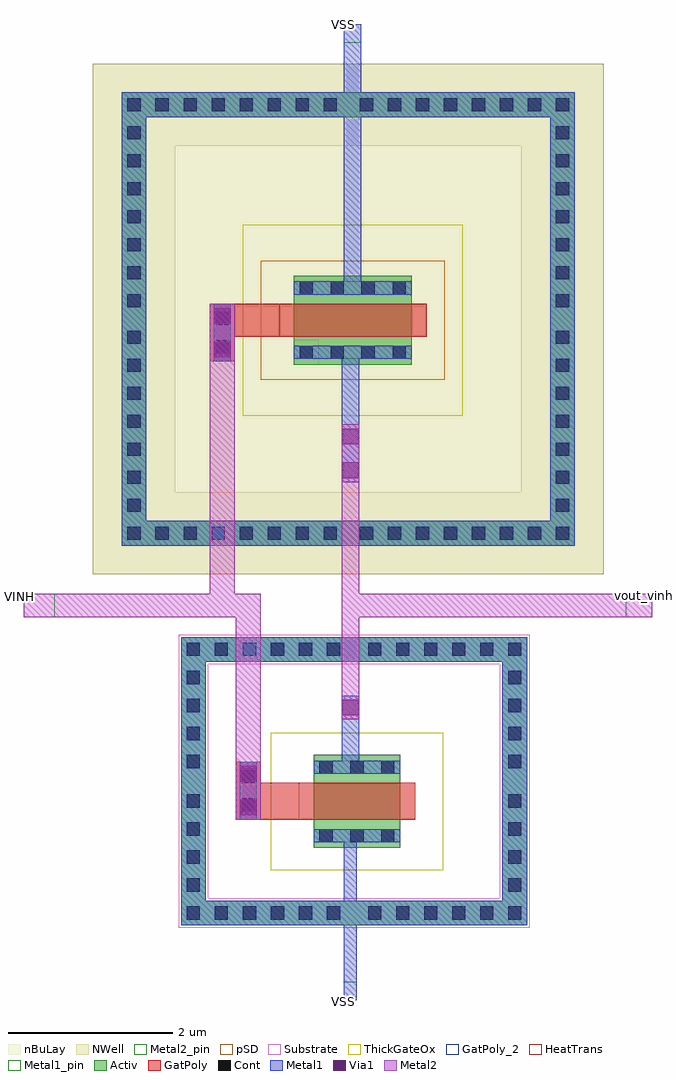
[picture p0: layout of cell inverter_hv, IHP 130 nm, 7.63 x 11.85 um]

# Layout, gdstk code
from math import pi, radians
import gdstk
lib = gdstk.Library(unit=1e-6, precision=5e-09)
def R(c, l, rs):  # rectangles x0, y0, x1, y1
    for r in rs: c.add(gdstk.rectangle(r[:2], r[2:], *l))
def A(c, l, x, y, w, h, nx, ny, dx, dy):  # array of equal rectangles
    R(c, l, [(x+i*dx, y+j*dy, x+i*dx+w, y+j*dy+h) for i in range(nx) for j in range(ny)])
def P(c, l, *ps):  # polygons
    for p in ps: c.add(gdstk.Polygon(p, *l))
Activ = (1, 0)
GatPoly = (5, 0)
GatPoly_2 = (5, 2)
Cont = (6, 0)
Metal1 = (8, 0)
Metal1_pin = (8, 2)
Metal2 = (10, 0)
Metal2_pin = (10, 2)
pSD = (14, 0)
Via1 = (19, 0)
NWell = (31, 0)
nBuLay = (32, 0)
Substrate = (40, 0)
ThickGateOx = (44, 0)
HeatTrans = (51, 0)

pmoshv = lib.new_cell('pmosHV')
R(pmoshv, Activ, [(0,0,0.3,0.3), (0,0,1.08,1.43), (0.78,0,1.08,0.3)])
R(pmoshv, GatPoly, [(0.34,-0.18,0.74,1.61)])
R(pmoshv, GatPoly_2, [(0.34,-0.18,0.74,1.61)])
A(pmoshv, Cont, 0.07, 0.07, 0.16, 0.16, 1, 3, 0, 0.375)
A(pmoshv, Cont, 0.85, 0.07, 0.16, 0.16, 1, 3, 0, 0.375)
R(pmoshv, Cont, [(0.07,1.2,0.23,1.36), (0.85,1.2,1.01,1.36)])
R(pmoshv, Metal1, [(0.07,0,0.23,1.43), (0.85,0,1.01,1.43)])
R(pmoshv, Metal1_pin, [(0.07,0,0.23,1.43), (0.85,0,1.01,1.43)])
R(pmoshv, pSD, [(-0.18,-0.4,1.26,1.83)])
R(pmoshv, NWell, [(-0.62,-0.62,1.7,2.05)])
R(pmoshv, Substrate, [(0.78,0,1.08,0.3)])
R(pmoshv, ThickGateOx, [(-0.62,-0.62,1.7,2.05)])
R(pmoshv, HeatTrans, [(0.34,-0.18,0.74,1.61)])
pmoshv.add(gdstk.Label('pmosHV', (0.54,0.715), layer=63, texttype=0))
pmoshv.add(gdstk.Label('pmos', (0.54,0.715), layer=51, texttype=0))

nmoshv = lib.new_cell('nmosHV')
R(nmoshv, Activ, [(0,0,0.3,0.3), (0,0,1.13,1.05), (0.83,0,1.13,0.3)])
R(nmoshv, GatPoly, [(0.34,-0.18,0.79,1.23)])
R(nmoshv, GatPoly_2, [(0.34,-0.18,0.79,1.23)])
A(nmoshv, Cont, 0.07, 0.07, 0.16, 0.16, 1, 3, 0, 0.375)
A(nmoshv, Cont, 0.9, 0.07, 0.16, 0.16, 1, 3, 0, 0.375)
R(nmoshv, Metal1, [(0.07,0,0.23,1.05), (0.9,0,1.06,1.05)])
R(nmoshv, Metal1_pin, [(0.07,0,0.23,1.05), (0.9,0,1.06,1.05)])
R(nmoshv, ThickGateOx, [(-0.27,-0.52,1.4,1.57)])
R(nmoshv, HeatTrans, [(0.34,-0.18,0.79,1.23)])
nmoshv.add(gdstk.Label('nmosHV', (0.565,0.525), layer=63, texttype=0))
nmoshv.add(gdstk.Label('nmosHV', (0.565,0.525), layer=51, texttype=0))

guard_ring_3 = lib.new_cell('guard_ring$3')
R(guard_ring_3, Activ, [(-2.75,-2.45,-2.45,2.45), (2.45,-2.45,2.75,2.45), (-2.75,2.45,2.75,2.75)])
P(guard_ring_3, Activ, [(-2.75,-2.75),(-2.75,2.45),(-2.45,2.45),(-2.45,-2.45),(2.45,-2.45),(2.45,2.45),(-2.75,2.45),(-2.75,2.75),(2.75,2.75),(2.75,-2.75)])
A(guard_ring_3, Cont, -2.68, -2.68, 0.16, 0.16, 8, 2, 0.34, 5.2)
A(guard_ring_3, Cont, 0.14, -2.68, 0.16, 0.16, 8, 2, 0.34, 5.2)
A(guard_ring_3, Cont, -2.68, -2.34, 0.16, 0.16, 1, 7, 0, 0.34)
A(guard_ring_3, Cont, 2.52, -2.34, 0.16, 0.16, 1, 7, 0, 0.34)
A(guard_ring_3, Cont, -2.68, 0.14, 0.16, 0.16, 1, 7, 0, 0.34)
A(guard_ring_3, Cont, 2.52, 0.14, 0.16, 0.16, 1, 7, 0, 0.34)
R(guard_ring_3, Metal1, [(-2.75,-2.75,2.75,-2.45), (-2.75,-2.45,-2.45,2.45), (2.45,-2.45,2.75,2.45), (-2.75,2.45,2.75,2.75)])
R(guard_ring_3, NWell, [(-3.1,-3.1,3.1,3.1)])
R(guard_ring_3, nBuLay, [(-3.1,-2.1,-2.1,2.1), (2.1,-2.1,3.1,2.1), (-3.1,2.1,3.1,3.1)])
P(guard_ring_3, nBuLay, [(-3.1,-3.1),(-3.1,2.1),(-2.1,2.1),(-2.1,-2.1),(2.1,-2.1),(2.1,2.1),(-3.1,2.1),(-3.1,3.1),(3.1,3.1),(3.1,-3.1)])
guard_ring_3.add(gdstk.Label('well', (0,-2.6), layer=63, texttype=0))

guard_ring_1 = lib.new_cell('guard_ring$1')
R(guard_ring_1, Activ, [(-2.1,-1.45,-1.8,1.45), (1.8,-1.45,2.1,1.45), (-2.1,1.45,2.1,1.75)])
P(guard_ring_1, Activ, [(-2.1,-1.75),(-2.1,1.45),(-1.8,1.45),(-1.8,-1.45),(1.8,-1.45),(1.8,1.45),(-2.1,1.45),(-2.1,1.75),(2.1,1.75),(2.1,-1.75)])
A(guard_ring_1, Cont, -2.03, -1.68, 0.16, 0.16, 6, 2, 0.34, 3.2)
A(guard_ring_1, Cont, 0.17, -1.68, 0.16, 0.16, 6, 2, 0.34, 3.2)
A(guard_ring_1, Cont, -2.03, -1.34, 0.16, 0.16, 1, 4, 0, 0.34)
A(guard_ring_1, Cont, 1.87, -1.34, 0.16, 0.16, 1, 4, 0, 0.34)
A(guard_ring_1, Cont, -2.03, 0.16, 0.16, 0.16, 1, 4, 0, 0.34)
A(guard_ring_1, Cont, 1.87, 0.16, 0.16, 0.16, 1, 4, 0, 0.34)
R(guard_ring_1, Metal1, [(-2.1,-1.75,2.1,-1.45), (-2.1,-1.45,-1.8,1.45), (1.8,-1.45,2.1,1.45), (-2.1,1.45,2.1,1.75)])
R(guard_ring_1, pSD, [(-2.13,-1.42,-1.77,1.42), (1.77,-1.42,2.13,1.42), (-2.13,1.42,2.13,1.78)])
P(guard_ring_1, pSD, [(-2.13,-1.78),(-2.13,1.42),(-1.77,1.42),(-1.77,-1.42),(1.77,-1.42),(1.77,1.42),(-2.13,1.42),(-2.13,1.78),(2.13,1.78),(2.13,-1.78)])
R(guard_ring_1, Substrate, [(-2.13,-1.42,-1.77,1.42), (1.77,-1.42,2.13,1.42), (-2.13,1.42,2.13,1.78)])
P(guard_ring_1, Substrate, [(-2.13,-1.78),(-2.13,1.42),(-1.77,1.42),(-1.77,-1.42),(1.77,-1.42),(1.77,1.42),(-2.13,1.42),(-2.13,1.78),(2.13,1.78),(2.13,-1.78)])
guard_ring_1.add(gdstk.Label('sub!', (0,-1.6), layer=63, texttype=0))

via_stack_2 = lib.new_cell('via_stack$2')
R(via_stack_2, Metal1, [(-0.105,-0.35,0.105,0.35)])
R(via_stack_2, Metal2, [(-0.1,-0.35,0.1,0.35)])
R(via_stack_2, Via1, [(-0.095,-0.3,0.095,-0.11), (-0.095,0.11,0.095,0.3)])

via_stack_1 = lib.new_cell('via_stack$1')
R(via_stack_1, GatPoly, [(-0.15,-0.32,0.15,0.32)])
R(via_stack_1, Cont, [(-0.08,-0.25,0.08,-0.09), (-0.08,0.09,0.08,0.25)])
R(via_stack_1, Metal1, [(-0.105,-0.35,0.105,0.35)])
R(via_stack_1, Metal2, [(-0.1,-0.35,0.1,0.35)])
R(via_stack_1, Via1, [(-0.095,-0.3,0.095,-0.11), (-0.095,0.11,0.095,0.3)])

via_stack = lib.new_cell('via_stack')
R(via_stack, Metal1, [(-0.145,-0.105,0.145,0.105)])
R(via_stack, Metal2, [(-0.145,-0.1,0.145,0.1)])
R(via_stack, Via1, [(-0.095,-0.095,0.095,0.095)])

inverter_hv = lib.new_cell('inverter_hv')
R(inverter_hv, GatPoly, [(6.595,5.79,7.36,6.24), (6.595,5.79,6.895,6.495), (6.28,11.355,6.58,12.055), (6.28,11.655,7.12,12.055)])
R(inverter_hv, Metal1, [(7.905,3.605,8.065,5.68), (7.88,6.35,8.09,7.3), (7.88,9.89,8.09,11.545), (7.905,12.165,8.12,15.45)])
R(inverter_hv, Metal1_pin, [(7.905,3.605,8.065,3.825), (7.905,15.22,8.12,15.45)])
R(inverter_hv, Metal2, [(6.595,5.79,6.895,8.535), (7.88,7.01,8.09,10.59), (4.02,8.25,6.895,8.535), (6.28,8.25,6.58,12.055), (7.88,8.25,11.65,8.535)])
R(inverter_hv, Metal2_pin, [(4.02,8.25,4.395,8.535), (11.33,8.25,11.65,8.535)])
inverter_hv.add(gdstk.Reference(pmoshv, (7.3,12.395), rotation=3*pi/2))
inverter_hv.add(gdstk.Reference(nmoshv, (7.54,6.58), rotation=3*pi/2))
inverter_hv.add(gdstk.Reference(guard_ring_3, (7.96,11.87)))
inverter_hv.add(gdstk.Reference(guard_ring_1, (8.03,6.26)))
inverter_hv.add(gdstk.Reference(via_stack_2, (7.985,10.24)))
inverter_hv.add(gdstk.Reference(via_stack_1, (6.43,11.705)))
inverter_hv.add(gdstk.Reference(via_stack_1, (6.745,6.145)))
inverter_hv.add(gdstk.Reference(via_stack, (7.985,7.155), rotation=3*pi/2))
inverter_hv.add(gdstk.Label('VSS', (7.905,15.45), layer=8, texttype=0))
inverter_hv.add(gdstk.Label('VSS', (7.905,3.59), layer=8, texttype=0))
inverter_hv.add(gdstk.Label('vout_vinh', (11.65,8.52), layer=10, texttype=0))
inverter_hv.add(gdstk.Label('VINH', (3.97,8.505), layer=10, texttype=0))

lib.write_gds('inverter_hv.gds')
